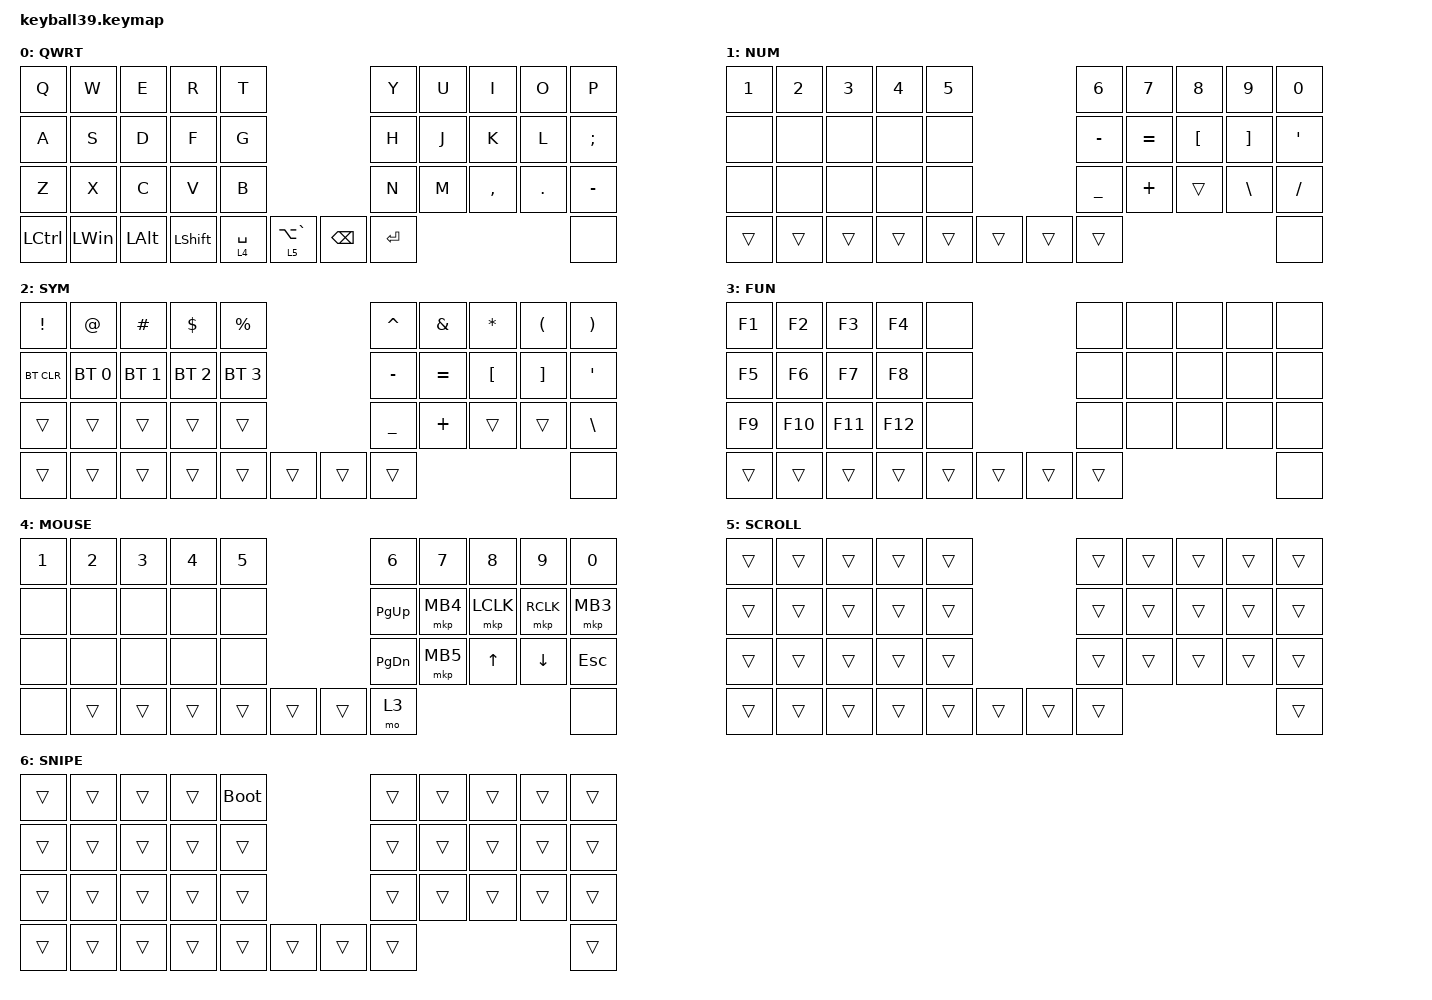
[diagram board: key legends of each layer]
#define DEFAULT 0
#define NUM     1
#define SYM     2
#define FUN     3
#define MOUSE   4
#define SCROLL  5
#define SNIPE   6

#include <behaviors/mouse_keys.dtsi>
#include <dt-bindings/zmk/mouse.h>
#include <behaviors.dtsi>
#include <dt-bindings/zmk/bt.h>
#include <dt-bindings/zmk/keys.h>
#include <dt-bindings/zmk/pointing.h>

&lt {
    tapping-term-ms = <240>;
    flavor = "balanced";
    quick-tap-ms = <150>;
};

&mt {
    tapping-term-ms = <200>;
    flavor = "tap-preferred";
    quick-tap-ms = <150>;
};

&caps_word { continue-list = <UNDERSCORE MINUS>; };

/ {
    // custom shift using mod-morph 

    behaviors {
        cmqus: comma_question {
            compatible = "zmk,behavior-mod-morph";
            label = "COMMA_QUESTION";
            #binding-cells = <0>;
            bindings = <&kp COMMA>, <&kp QUESTION>;

            mods = <(MOD_LSFT|MOD_RSFT)>;
        };

        dtsmi: dot_semi {
            compatible = "zmk,behavior-mod-morph";
            label = "DOT_SEMI";
            #binding-cells = <0>;
            bindings = <&kp DOT>, <&kp SEMI>;

            mods = <(MOD_LSFT|MOD_RSFT)>;
        };
    };

    macros {
        Hiragana: Hiragana {
            compatible = "zmk,behavior-macro";
            #binding-cells = <0>;
            bindings = <&kp LC(SPACE)>;
            label = "HIRAGANA";
        };
    };

    combos {
        compatible = "zmk,combos";

        escape {
            bindings = <&kp ESCAPE>;
            key-positions = <38 0>;
            timeout-ms = <50>;
        };

        tab {
            bindings = <&kp TAB>;
            key-positions = <38 10>;
            timeout-ms = <50>;
        };

        delete {
            bindings = <&kp C_AC_DEL>;
            key-positions = <38 9>;
            timeout-ms = <50>;
        };

        up {
            bindings = <&kp UP_ARROW>;
            key-positions = <1 38>;
            timeout-ms = <50>;
        };

        left {
            bindings = <&kp LEFT_ARROW>;
            key-positions = <10 38>;
            timeout-ms = <50>;
        };

        down {
            bindings = <&kp DOWN_ARROW>;
            key-positions = <11 38>;
            timeout-ms = <50>;
        };

        right {
            bindings = <&kp RIGHT_ARROW>;
            key-positions = <12 38>;
            timeout-ms = <50>;
        };

        Layer0 {
            bindings = <&to 0>;
            key-positions = <33 38>;
            timeout-ms = <50>;
        };

        Layer1 {
            bindings = <&to 1>;
            key-positions = <34 38>;
            timeout-ms = <50>;
        };

        Layer2 {
            bindings = <&to 2>;
            key-positions = <35 38>;
            timeout-ms = <50>;
        };

        Layer3 {
            bindings = <&to 3>;
            key-positions = <36 38>;
            timeout-ms = <50>;
        };

        Layer4 {
            bindings = <&to 4>;
            key-positions = <37 38>;
        };

        bootloader {
            bindings = <&bootloader>;
            key-positions = <24 38>;
            timeout-ms = <50>;
        };
    };

    keymap {
        compatible = "zmk,keymap";

        default_layer {
            label = "QWRT";
            bindings = <
&kp Q      &kp W         &kp E     &kp R       &kp T                                        &kp Y    &kp U  &kp I      &kp O    &kp P
&kp A      &kp S         &kp D     &kp F       &kp G                                        &kp H    &kp J  &kp K      &kp L    &kp SEMI
&kp Z      &kp X         &kp C     &kp V       &kp B                                        &kp N    &kp M  &kp COMMA  &kp DOT  &kp MINUS
&kp LCTRL  &kp LEFT_WIN  &kp LALT  &kp LSHIFT  &lt 4 SPACE  &lt 5 LA(GRAVE)  &kp BACKSPACE  &kp RET                             &none
            >;
        };

        number_layer {
            label = "NUM";
            bindings = <
&kp NUMBER_1  &kp NUMBER_2  &kp NUMBER_3  &kp NUMBER_4  &kp NUMBER_5                  &kp NUMBER_6    &kp NUMBER_7  &kp NUMBER_8      &kp NUMBER_9       &kp NUMBER_0
&none         &none         &none         &none         &none                         &kp MINUS       &kp EQUAL     &kp LEFT_BRACKET  &kp RIGHT_BRACKET  &kp SQT
&none         &none         &none         &none         &none                         &kp UNDERSCORE  &kp PLUS      &trans            &kp BACKSLASH      &kp SLASH
&trans        &trans        &trans        &trans        &trans        &trans  &trans  &trans                                                             &none
            >;
        };

        symbol_layer {
            label = "SYM";
            bindings = <
&kp EXCLAMATION  &kp AT_SIGN   &kp HASH      &kp DOLLAR    &kp PERCENT                   &kp CARET       &kp AMPERSAND  &kp ASTERISK      &kp LEFT_PARENTHESIS  &kp RIGHT_PARENTHESIS
&bt BT_CLR       &bt BT_SEL 0  &bt BT_SEL 1  &bt BT_SEL 2  &bt BT_SEL 3                  &kp MINUS       &kp EQUAL      &kp LEFT_BRACKET  &kp RIGHT_BRACKET     &kp SQT
&trans           &trans        &trans        &trans        &trans                        &kp UNDERSCORE  &kp PLUS       &trans            &trans                &kp BACKSLASH
&trans           &trans        &trans        &trans        &trans        &trans  &trans  &trans                                                                 &none
            >;
        };

        function_layer {
            label = "FUN";
            bindings = <
&kp F1  &kp F2   &kp F3   &kp F4   &none                   &none   &none  &none  &none  &none
&kp F5  &kp F6   &kp F7   &kp F8   &none                   &none   &none  &none  &none  &none
&kp F9  &kp F10  &kp F11  &kp F12  &none                   &none   &none  &none  &none  &none
&trans  &trans   &trans   &trans   &trans  &trans  &trans  &trans                       &none
            >;
        };

        mouse_layer {
            label = "MOUSE";
            bindings = <
&kp NUMBER_1  &kp NUMBER_2  &kp N3  &kp N4  &kp N5                  &kp N6         &kp N7    &kp N8        &kp N9          &kp N0
&none         &none         &none   &none   &none                   &kp PAGE_UP    &mkp MB4  &mkp LCLK     &mkp RCLK       &mkp MB3
&none         &none         &none   &none   &none                   &kp PAGE_DOWN  &mkp MB5  &kp UP_ARROW  &kp DOWN_ARROW  &kp ESC
&none         &trans        &trans  &trans  &trans  &trans  &trans  &mo 3                                                  &none
            >;
        };

        scroll_layer {
            label = "SCROLL";
            bindings = <
&trans  &trans  &trans  &trans  &trans                  &trans  &trans  &trans  &trans  &trans
&trans  &trans  &trans  &trans  &trans                  &trans  &trans  &trans  &trans  &trans
&trans  &trans  &trans  &trans  &trans                  &trans  &trans  &trans  &trans  &trans
&trans  &trans  &trans  &trans  &trans  &trans  &trans  &trans                          &trans
            >;
        };

        snipe_layer {
            label = "SNIPE";
            bindings = <
&trans  &trans  &trans  &trans  &bootloader                  &trans  &trans  &trans  &trans  &trans
&trans  &trans  &trans  &trans  &trans                       &trans  &trans  &trans  &trans  &trans
&trans  &trans  &trans  &trans  &trans                       &trans  &trans  &trans  &trans  &trans
&trans  &trans  &trans  &trans  &trans       &trans  &trans  &trans                          &trans
            >;
        };
    };
};
